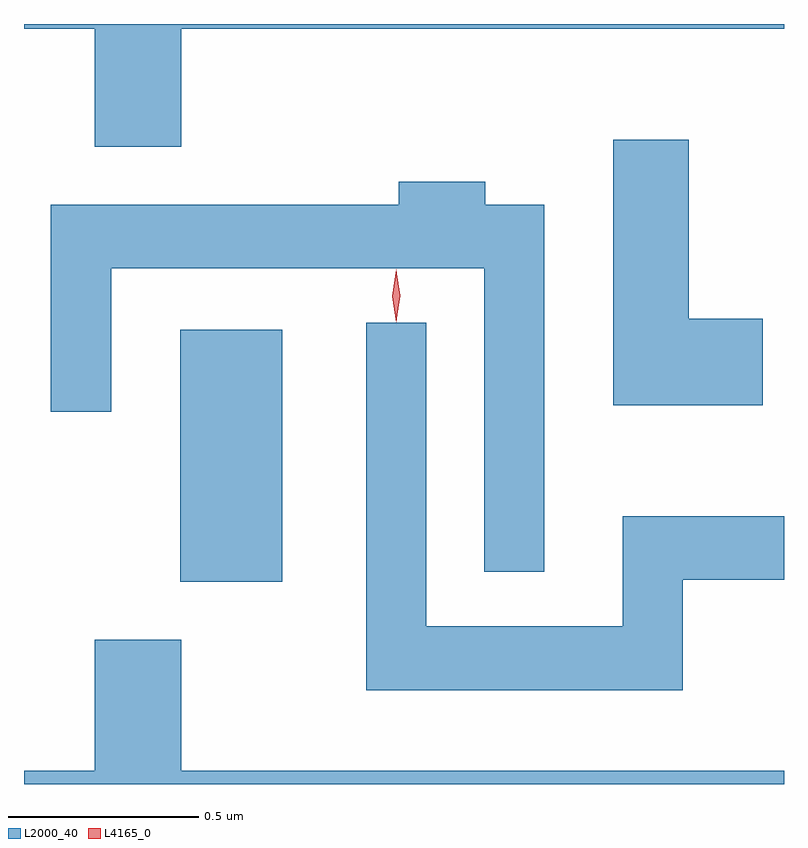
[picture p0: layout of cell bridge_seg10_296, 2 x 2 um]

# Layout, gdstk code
import gdstk
lib = gdstk.Library(unit=1e-6, precision=1e-09)
def R(c, l, rs):  # rectangles x0, y0, x1, y1
    for r in rs: c.add(gdstk.rectangle(r[:2], r[2:], *l))
def P(c, l, *ps):  # polygons
    for p in ps: c.add(gdstk.Polygon(p, *l))
L2000_40 = (2000, 40)
L4165_0 = (4165, 0)

bridge_seg10_296 = lib.new_cell('bridge_seg10_296')
R(bridge_seg10_296, L2000_40, [(1809.596,2101.361,1809.864,2102.024)])
P(bridge_seg10_296, L2000_40, [(1809.599,2102.816),(1811.185,2102.816),(1811.185,2102.829),(1809.185,2102.829),(1809.185,2102.816),(1809.371,2102.816),(1809.371,2102.506),(1809.599,2102.506)],
  [(1811.129,2102.054),(1810.934,2102.054),(1810.934,2102.524),(1810.736,2102.524),(1810.736,2101.826),(1811.129,2101.826)],
  [(1810.554,2102.354),(1810.399,2102.354),(1810.399,2102.414),(1810.171,2102.414),(1810.171,2102.354),(1809.256,2102.354),(1809.256,2101.808),(1809.414,2101.808),(1809.414,2102.186),(1810.396,2102.186),(1810.396,2101.388),(1810.554,2101.388)],
  [(1810.919,2101.366),(1811.185,2101.366),(1811.185,2101.534),(1810.761,2101.534),(1810.761,2101.244),(1810.244,2101.244),(1810.244,2102.043),(1810.086,2102.043),(1810.086,2101.076),(1810.919,2101.076)],
  [(1811.185,2100.864),(1809.599,2100.864),(1809.599,2101.209),(1809.371,2101.209),(1809.371,2100.864),(1809.185,2100.864),(1809.185,2100.829),(1811.185,2100.829)])
P(bridge_seg10_296, L4165_0, [(1810.165,2102.047),(1810.164,2102.048),(1810.155,2102.114),(1810.164,2102.18),(1810.165,2102.18),(1810.165,2102.18),(1810.175,2102.114),(1810.165,2102.048)],
  [(1810.164,2102.044),(1810.164,2102.044),(1810.154,2102.113),(1810.164,2102.182),(1810.164,2102.183),(1810.165,2102.182),(1810.174,2102.113),(1810.165,2102.044)])

lib.write_gds('bridge_seg10_296.gds')
